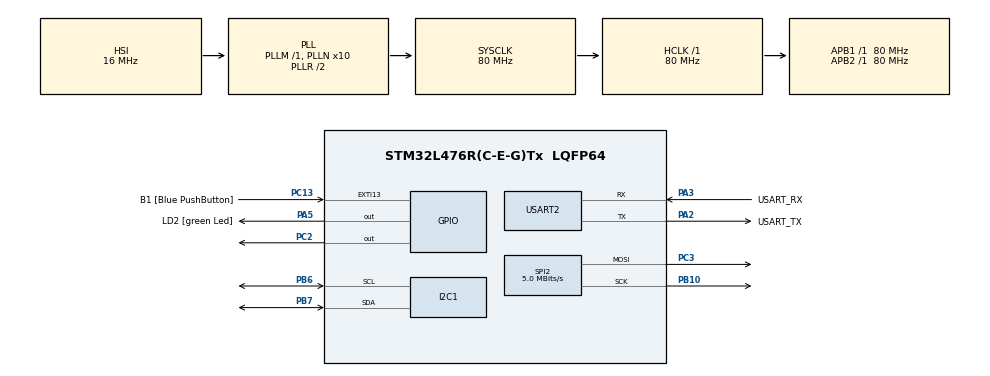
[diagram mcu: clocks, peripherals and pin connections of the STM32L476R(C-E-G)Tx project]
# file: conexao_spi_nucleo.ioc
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I2C1.Timing=0x10D19CE4
Mcu.Family=STM32L4
Mcu.Name=STM32L476R(C-E-G)Tx
Mcu.Package=LQFP64
NVIC.EXTI15_10_IRQn=true\:0\:0\:false\:false\:true\:true\:true\:true
NVIC.I2C1_ER_IRQn=true\:0\:0\:false\:false\:true\:true\:true\:true
NVIC.I2C1_EV_IRQn=true\:0\:0\:false\:false\:true\:true\:true\:true
NVIC.PriorityGroup=NVIC_PRIORITYGROUP_4
NVIC.SPI2_IRQn=true\:0\:0\:false\:false\:true\:true\:true\:true
NVIC.USART2_IRQn=true\:0\:0\:false\:false\:true\:true\:true\:true
PA13\ (JTMS-SWDIO).GPIO_Label=TMS
PA13\ (JTMS-SWDIO).Mode=Serial_Wire
PA13\ (JTMS-SWDIO).Signal=SYS_JTMS-SWDIO
PA14\ (JTCK-SWCLK).GPIO_Label=TCK
PA14\ (JTCK-SWCLK).Mode=Serial_Wire
PA14\ (JTCK-SWCLK).Signal=SYS_JTCK-SWCLK
PA2.GPIO_Label=USART_TX
PA2.GPIO_Mode=GPIO_MODE_AF_PP
PA2.GPIO_PuPd=GPIO_PULLUP
PA2.GPIO_Speed=GPIO_SPEED_FREQ_VERY_HIGH
PA2.Mode=Asynchronous
PA2.Signal=USART2_TX
PA3.GPIO_Label=USART_RX
PA3.GPIO_Mode=GPIO_MODE_AF_PP
PA3.GPIO_PuPd=GPIO_PULLUP
PA3.GPIO_Speed=GPIO_SPEED_FREQ_VERY_HIGH
PA3.Mode=Asynchronous
PA3.Signal=USART2_RX
PA5.GPIO_Label=LD2 [green Led]
PA5.GPIO_ModeDefaultOutputPP=GPIO_MODE_OUTPUT_PP
PA5.GPIO_PuPd=GPIO_NOPULL
PA5.GPIO_Speed=GPIO_SPEED_FREQ_LOW
PA5.Signal=GPIO_Output
PB10.Mode=TX_Only_Simplex_Unidirect_Master
PB10.Signal=SPI2_SCK
PB3\ (JTDO-TRACESWO).GPIO_Label=SWO
PB3\ (JTDO-TRACESWO).Signal=SYS_JTDO-SWO
PB6.GPIO_Pu=GPIO_PULLUP
PB6.Mode=I2C
PB6.Signal=I2C1_SCL
PB7.GPIO_Pu=GPIO_PULLUP
PB7.Mode=I2C
PB7.Signal=I2C1_SDA
PC13.GPIO_Label=B1 [Blue PushButton]
PC13.GPIO_ModeDefaultEXTI=GPIO_MODE_IT_FALLING
PC13.GPIO_PuPd=GPIO_NOPULL
PC13.Signal=GPXTI13
PC14-OSC32_IN\ (PC14).Mode=LSE-External-Oscillator
PC14-OSC32_IN\ (PC14).Signal=RCC_OSC32_IN
PC15-OSC32_OUT\ (PC15).Mode=LSE-External-Oscillator
PC15-OSC32_OUT\ (PC15).Signal=RCC_OSC32_OUT
PC2.Signal=GPIO_Output
PC3.Mode=TX_Only_Simplex_Unidirect_Master
PC3.Signal=SPI2_MOSI
PH0-OSC_IN\ (PH0).Signal=RCC_OSC_IN
PH1-OSC_OUT\ (PH1).Signal=RCC_OSC_OUT
ProjectManager.HeapSize=0x200
ProjectManager.StackSize=0x400
ProjectManager.TargetToolchain=STM32CubeIDE
RCC.ADCFreq_Value=64000000
RCC.AHBFreq_Value=80000000
RCC.APB1Freq_Value=80000000
RCC.APB1TimFreq_Value=80000000
RCC.APB2Freq_Value=80000000
RCC.APB2TimFreq_Value=80000000
RCC.CortexFreq_Value=80000000
RCC.HCLKFreq_Value=80000000
RCC.HSE_VALUE=8000000
RCC.HSI_VALUE=16000000
RCC.MSI_VALUE=4000000
RCC.PLLN=10
RCC.PLLSourceVirtual=RCC_PLLSOURCE_HSI
RCC.PREFETCH_ENABLE=1
RCC.SYSCLKFreq_VALUE=80000000
RCC.SYSCLKSource=RCC_SYSCLKSOURCE_PLLCLK
RCC.USBFreq_Value=64000000
RCC.VCOOutputFreq_Value=160000000
SPI2.BaudRatePrescaler=SPI_BAUDRATEPRESCALER_16
SPI2.CalculateBaudRate=5.0 MBits/s
SPI2.DataSize=SPI_DATASIZE_8BIT
SPI2.Direction=SPI_DIRECTION_2LINES
SPI2.Mode=SPI_MODE_MASTER
SPI2.VirtualType=VM_MASTER
USART2.VirtualMode-Asynchronous=VM_ASYNC
board=NUCLEO-L476RG

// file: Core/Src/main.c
/* USER CODE BEGIN Header */
/**
  ******************************************************************************
  * @file           : main.c
  * @brief          : Main program body
  ******************************************************************************
  * @attention
  *
  * Copyright (c) 2026 STMicroelectronics.
  * All rights reserved.
  *
  * This software is licensed under terms that can be found in the LICENSE file
  * in the root directory of this software component.
  * If no LICENSE file comes with this software, it is provided AS-IS.
  *
  ******************************************************************************
  */
/* USER CODE END Header */
#include "main.h"

/* USER CODE BEGIN Includes */
#include <string.h>
#include <stdio.h>
#include <stdlib.h>
/* USER CODE END Includes */

/* USER CODE BEGIN PD */
#define PCF8591_ADDRESS 0x48 << 1
#define CS_LOW()  HAL_GPIO_WritePin(GPIOC, GPIO_PIN_2, GPIO_PIN_RESET)
#define CS_HIGH() HAL_GPIO_WritePin(GPIOC, GPIO_PIN_2, GPIO_PIN_SET)
/* USER CODE END PD */

I2C_HandleTypeDef hi2c1;

SPI_HandleTypeDef hspi2;

UART_HandleTypeDef huart2;

/* USER CODE BEGIN PV */

// I²C
uint8_t rx_i2c_buffer[2];
uint8_t dac_tx_buffer[2];

uint8_t pcf_control_byte;

volatile uint8_t uart_received = 0;
volatile uint8_t i2c_done = 0;
volatile uint8_t i2c_busy = 0;

typedef enum {
	READ_AIN0,
	READ_AIN1,
	READ_AIN3,
	SET_DAC,
	TEMP,
	VOLT,
	LDR,
	Null
} Command_t;
Command_t comando = Null;

uint8_t ain0;
uint8_t ain1;
uint8_t ain3;
uint8_t dac_value;
uint8_t sensor_value;

uint8_t rx_char;
volatile uint8_t uart_index = 0;
char rx_uart_buffer[64];

char pc_msg[100];

// SPI
volatile uint8_t spi_busy = 0;
uint8_t spi_tx_buffer[2];

volatile uint32_t tick_display = 0;
volatile uint8_t display_toggle = 0;

typedef enum {
    DISPLAY_NONE,
    DISPLAY_TEMP_POS,
    DISPLAY_TEMP_NEG,
    DISPLAY_VOLT_POS,
    DISPLAY_VOLT_NEG,
    DISPLAY_LDR_POS,
    DISPLAY_LDR_NEG
} DisplayMode_t;

DisplayMode_t displayMode = DISPLAY_NONE;

const uint8_t CHAR_T[8] = {
    0b11111110,
    0b00010000,
    0b00010000,
    0b00010000,
    0b00010000,
    0b00010000,
    0b00010000,
    0b00000000
};

const uint8_t CHAR_V[8] = {
    0b10000010,
    0b10000010,
    0b10000010,
    0b01000100,
    0b01000100,
    0b00101000,
    0b00010000,
    0b00000000
};

const uint8_t CHAR_L[8] = {
    0b10000000,
    0b10000000,
    0b10000000,
    0b10000000,
    0b10000000,
    0b10000000,
    0b11111110,
    0b00000000
};

const uint8_t CHAR_PLUS[8] = {
    0b00000000,
    0b00010000,
    0b00010000,
    0b11111110,
    0b00010000,
    0b00010000,
    0b00000000,
    0b00000000
};

const uint8_t CHAR_MINUS[8] = {
    0b00000000,
    0b00000000,
    0b00000000,
    0b11111110,
    0b00000000,
    0b00000000,
    0b00000000,
    0b00000000
};

uint8_t matriz[8];
/* USER CODE END PV */

void SystemClock_Config(void);
static void MX_GPIO_Init(void);
static void MX_I2C1_Init(void);
static void MX_USART2_UART_Init(void);
static void MX_SPI2_Init(void);
/* USER CODE BEGIN PFP */
void PCF8591_StartRead(uint8_t channel);
void MAX7219_DisplayChar(const uint8_t *bitmap);
void Display_Update(void);
/* USER CODE END PFP */

/* USER CODE BEGIN 0 */
void PCF8591_SetDAC(uint8_t value) {
    if(i2c_busy) {
        return;
    }

    i2c_busy = 1;

    dac_tx_buffer[0] = 0x40;
    dac_tx_buffer[1] = value;

    HAL_I2C_Master_Transmit_IT(&hi2c1, PCF8591_ADDRESS, dac_tx_buffer, 2);
}

void MAX7219_Send(uint8_t address, uint8_t data) {
    if(spi_busy) {
    	return;
    }

    spi_busy = 1;
    spi_tx_buffer[0] = address;
    spi_tx_buffer[1] = data;
    CS_LOW();
    HAL_SPI_Transmit_IT(&hspi2, spi_tx_buffer, 2);
}

void MAX7219_Init(void) {
    MAX7219_Send(0x09, 0x00);
    MAX7219_Send(0x0A, 0x03);
    MAX7219_Send(0x0B, 0x07);
    MAX7219_Send(0x0C, 0x01);
    MAX7219_Send(0x0F, 0x00);
}

void MAX7219_Clear(void) {
    for(uint8_t i = 1; i <= 8; i++) {
        MAX7219_Send(i, 0x00);
    }
}

void MAX7219_DisplayChar(const uint8_t *bitmap) {
    for(uint8_t i = 0; i < 8; i++) {
        while(spi_busy);
        matriz[i] = bitmap[i];
        MAX7219_Send(i + 1, matriz[i]);
    }
}

void Display_Update(void) {
    if(displayMode == DISPLAY_NONE) {
    	return;
    }

    uint32_t now = HAL_GetTick();
    if(now - tick_display >= 500) {
        tick_display = now;
        display_toggle = !display_toggle;

        if(display_toggle) {
            switch(displayMode) {
                case DISPLAY_TEMP_POS:
                case DISPLAY_TEMP_NEG:
                    MAX7219_DisplayChar(CHAR_T);
                    break;
                case DISPLAY_VOLT_POS:
                case DISPLAY_VOLT_NEG:
                    MAX7219_DisplayChar(CHAR_V);
                    break;
                case DISPLAY_LDR_POS:
                case DISPLAY_LDR_NEG:
                    MAX7219_DisplayChar(CHAR_L);
                    break;
                default: break;
            }
        } else {
            switch(displayMode) {
                case DISPLAY_TEMP_POS:
                case DISPLAY_VOLT_POS:
                case DISPLAY_LDR_POS:
                    MAX7219_DisplayChar(CHAR_PLUS);
                    break;
                case DISPLAY_TEMP_NEG:
                case DISPLAY_VOLT_NEG:
                case DISPLAY_LDR_NEG:
                    MAX7219_DisplayChar(CHAR_MINUS);
                    break;
                default: break;
            }
        }
    }
}
/* USER CODE END 0 */

int main(void)
{

  /* MCU Configuration--------------------------------------------------------*/

  /* Reset of all peripherals, Initializes the Flash interface and the Systick. */
  HAL_Init();

  /* Configure the system clock */
  SystemClock_Config();

  /* Initialize all configured peripherals */
  MX_GPIO_Init();
  MX_I2C1_Init();
  MX_USART2_UART_Init();
  MX_SPI2_Init();
  /* USER CODE BEGIN 2 */
  MAX7219_Init();
  MAX7219_Clear();
  HAL_UART_Receive_IT(&huart2, &rx_char, 1);
  /* USER CODE END 2 */

  /* Infinite loop */
  while (1)
  {

    /* USER CODE BEGIN 3 */
	  if (uart_received)
	  	      {
	  	          uart_received = 0;
	  	          uint8_t comando_valido = 0;
	  	          if (strcmp(rx_uart_buffer, "Read_AIN0") == 0) {
	  	              comando = READ_AIN0;
	  	              comando_valido = 1;
	  	              PCF8591_StartRead(0);
	  	          }
	  	          if (strcmp(rx_uart_buffer, "Read_AIN1") == 0) {
	  	              comando = READ_AIN1;
	  	              comando_valido = 1;
	  	              PCF8591_StartRead(1);
	  	          }
	  	          if (strcmp(rx_uart_buffer, "Read_AIN3") == 0) {
	  	              comando = READ_AIN3;
	  	              comando_valido = 1;
	  	              PCF8591_StartRead(3);
	  	          }
	  	          if (strncmp(rx_uart_buffer, "Set_DAC_", 8) == 0) {
	  	              uint8_t valor = atoi(&rx_uart_buffer[8]);
	  	              if (valor > 255) {
	  	            	  valor = 255;
	  	              }
	  	              comando = SET_DAC;
	  	              comando_valido = 1;
	  	              PCF8591_SetDAC(valor);

	  	              sprintf(pc_msg, "DAC = %d\r\n", valor);

	  	              HAL_UART_Transmit_IT(&huart2, (uint8_t*)pc_msg, strlen(pc_msg));
	  	          }
	  	          if(strcmp(rx_uart_buffer, "Temp") == 0) {
	  	        	  comando = TEMP;
	  	        	  comando_valido = 1;
	  	        	  PCF8591_StartRead(1); // AIN0 = temperatura
	  	          }
	  	          if(strcmp(rx_uart_buffer, "Volt") == 0) {
	  	        	  comando = VOLT;
	  	        	  comando_valido = 1;
	  	        	  PCF8591_StartRead(3); // AIN1 = potenciômetro
	  	          }
	  	          if(strcmp(rx_uart_buffer, "LDR") == 0) {
	  	        	  comando = LDR;
	  	        	  comando_valido = 1;
	  	        	  PCF8591_StartRead(0); // AIN3 = LDR
	  	          }
	  	          if (!comando_valido){
	  		          sprintf(pc_msg, "Comando invalido\r\n");

	  		          HAL_UART_Transmit_IT(&huart2, (uint8_t*)pc_msg, strlen(pc_msg));
	  	          }

	  	      }

	  	      if (i2c_done) {
	  	          i2c_done = 0;

	  	          switch(comando) {
	  	              case READ_AIN0:

	  	                  ain0 = rx_i2c_buffer[1];
	  	                  sprintf(pc_msg, "AIN0 = %d\r\n", ain0);
	  	                  break;

	  	              case READ_AIN1:

	  	                  ain1 = rx_i2c_buffer[1];
	  	                  sprintf(pc_msg, "AIN1 = %d\r\n", ain1);
	  	                  break;

	  	              case READ_AIN3:

	  	                  ain3 = rx_i2c_buffer[1];
	  	                  sprintf(pc_msg, "AIN3 = %d\r\n", ain3);
	  	                  break;

	  	              case TEMP:
	  	            	  sensor_value = rx_i2c_buffer[1];
	  	            	  sprintf(pc_msg, "Temp = %d\r\n", sensor_value);
	  	            	  if (sensor_value < 128) {
	  	            		  displayMode = DISPLAY_TEMP_NEG;
		  	            	  tick_display = 0;
		  	            	  display_toggle = 0;
	  	            		  break;
	  	            	  }
  	            		  displayMode = DISPLAY_TEMP_POS;
	  	            	  tick_display = 0;
	  	            	  display_toggle = 0;
	  	            	  break;

	  	              case VOLT:
	  	            	  sensor_value = rx_i2c_buffer[1];
	  	            	  sprintf(pc_msg, "Volt = %d\r\n", sensor_value);
	  	            	  if (sensor_value < 128) {
	  	            		  displayMode = DISPLAY_VOLT_NEG;
		  	            	  tick_display = 0;
		  	            	  display_toggle = 0;
	  	            		  break;
	  	            	  }
	  	            	  displayMode = DISPLAY_VOLT_POS;
	  	            	  tick_display = 0;
	  	            	  display_toggle = 0;
	  	            	  break;

	  	              case LDR:
	  	            	  sensor_value = rx_i2c_buffer[1];
	  	            	  sprintf(pc_msg, "LDR = %d\r\n", sensor_value);
	  	            	  if (sensor_value < 128) {
	  	            		  displayMode = DISPLAY_LDR_NEG;
		  	            	  tick_display = 0;
		  	            	  display_toggle = 0;
	  	            		  break;
	  	            	  }
	  	            	  displayMode = DISPLAY_LDR_POS;
	  	            	  tick_display = 0;
	  	            	  display_toggle = 0;
	  	            	  break;

	  	              default:
	  	                  break;
	  	          }

	  	          HAL_UART_Transmit_IT(&huart2, (uint8_t*)pc_msg, strlen(pc_msg));
	  	      }
  	          Display_Update();

  }
  /* USER CODE END 3 */
}

void SystemClock_Config(void)
{
  RCC_OscInitTypeDef RCC_OscInitStruct = {0};
  RCC_ClkInitTypeDef RCC_ClkInitStruct = {0};

  /** Configure the main internal regulator output voltage
  */
  if (HAL_PWREx_ControlVoltageScaling(PWR_REGULATOR_VOLTAGE_SCALE1) != HAL_OK)
  {
    Error_Handler();
  }

  /** Initializes the RCC Oscillators according to the specified parameters
  * in the RCC_OscInitTypeDef structure.
  */
  RCC_OscInitStruct.OscillatorType = RCC_OSCILLATORTYPE_HSI;
  RCC_OscInitStruct.HSIState = RCC_HSI_ON;
  RCC_OscInitStruct.HSICalibrationValue = RCC_HSICALIBRATION_DEFAULT;
  RCC_OscInitStruct.PLL.PLLState = RCC_PLL_ON;
  RCC_OscInitStruct.PLL.PLLSource = RCC_PLLSOURCE_HSI;
  RCC_OscInitStruct.PLL.PLLM = 1;
  RCC_OscInitStruct.PLL.PLLN = 10;
  RCC_OscInitStruct.PLL.PLLP = RCC_PLLP_DIV7;
  RCC_OscInitStruct.PLL.PLLQ = RCC_PLLQ_DIV2;
  RCC_OscInitStruct.PLL.PLLR = RCC_PLLR_DIV2;
  if (HAL_RCC_OscConfig(&RCC_OscInitStruct) != HAL_OK)
  {
    Error_Handler();
  }

  /** Initializes the CPU, AHB and APB buses clocks
  */
  RCC_ClkInitStruct.ClockType = RCC_CLOCKTYPE_HCLK|RCC_CLOCKTYPE_SYSCLK
                              |RCC_CLOCKTYPE_PCLK1|RCC_CLOCKTYPE_PCLK2;
  RCC_ClkInitStruct.SYSCLKSource = RCC_SYSCLKSOURCE_PLLCLK;
  RCC_ClkInitStruct.AHBCLKDivider = RCC_SYSCLK_DIV1;
  RCC_ClkInitStruct.APB1CLKDivider = RCC_HCLK_DIV1;
  RCC_ClkInitStruct.APB2CLKDivider = RCC_HCLK_DIV1;

  if (HAL_RCC_ClockConfig(&RCC_ClkInitStruct, FLASH_LATENCY_4) != HAL_OK)
  {
    Error_Handler();
  }
}

static void MX_I2C1_Init(void)
{

  hi2c1.Instance = I2C1;
  hi2c1.Init.Timing = 0x10D19CE4;
  hi2c1.Init.OwnAddress1 = 0;
  hi2c1.Init.AddressingMode = I2C_ADDRESSINGMODE_7BIT;
  hi2c1.Init.DualAddressMode = I2C_DUALADDRESS_DISABLE;
  hi2c1.Init.OwnAddress2 = 0;
  hi2c1.Init.OwnAddress2Masks = I2C_OA2_NOMASK;
  hi2c1.Init.GeneralCallMode = I2C_GENERALCALL_DISABLE;
  hi2c1.Init.NoStretchMode = I2C_NOSTRETCH_DISABLE;
  if (HAL_I2C_Init(&hi2c1) != HAL_OK)
  {
    Error_Handler();
  }

  /** Configure Analogue filter
  */
  if (HAL_I2CEx_ConfigAnalogFilter(&hi2c1, I2C_ANALOGFILTER_ENABLE) != HAL_OK)
  {
    Error_Handler();
  }

  /** Configure Digital filter
  */
  if (HAL_I2CEx_ConfigDigitalFilter(&hi2c1, 0) != HAL_OK)
  {
    Error_Handler();
  }

}

static void MX_SPI2_Init(void)
{

  /* SPI2 parameter configuration*/
  hspi2.Instance = SPI2;
  hspi2.Init.Mode = SPI_MODE_MASTER;
  hspi2.Init.Direction = SPI_DIRECTION_2LINES;
  hspi2.Init.DataSize = SPI_DATASIZE_8BIT;
  hspi2.Init.CLKPolarity = SPI_POLARITY_LOW;
  hspi2.Init.CLKPhase = SPI_PHASE_1EDGE;
  hspi2.Init.NSS = SPI_NSS_SOFT;
  hspi2.Init.BaudRatePrescaler = SPI_BAUDRATEPRESCALER_16;
  hspi2.Init.FirstBit = SPI_FIRSTBIT_MSB;
  hspi2.Init.TIMode = SPI_TIMODE_DISABLE;
  hspi2.Init.CRCCalculation = SPI_CRCCALCULATION_DISABLE;
  hspi2.Init.CRCPolynomial = 7;
  hspi2.Init.CRCLength = SPI_CRC_LENGTH_DATASIZE;
  hspi2.Init.NSSPMode = SPI_NSS_PULSE_ENABLE;
  if (HAL_SPI_Init(&hspi2) != HAL_OK)
  {
    Error_Handler();
  }

}

static void MX_USART2_UART_Init(void)
{

  huart2.Instance = USART2;
  huart2.Init.BaudRate = 115200;
  huart2.Init.WordLength = UART_WORDLENGTH_8B;
  huart2.Init.StopBits = UART_STOPBITS_1;
  huart2.Init.Parity = UART_PARITY_NONE;
  huart2.Init.Mode = UART_MODE_TX_RX;
  huart2.Init.HwFlowCtl = UART_HWCONTROL_NONE;
  huart2.Init.OverSampling = UART_OVERSAMPLING_16;
  huart2.Init.OneBitSampling = UART_ONE_BIT_SAMPLE_DISABLE;
  huart2.AdvancedInit.AdvFeatureInit = UART_ADVFEATURE_NO_INIT;
  if (HAL_UART_Init(&huart2) != HAL_OK)
  {
    Error_Handler();
  }

}

static void MX_GPIO_Init(void)
{
  GPIO_InitTypeDef GPIO_InitStruct = {0};

  /* GPIO Ports Clock Enable */
  __HAL_RCC_GPIOC_CLK_ENABLE();
  __HAL_RCC_GPIOH_CLK_ENABLE();
  __HAL_RCC_GPIOA_CLK_ENABLE();
  __HAL_RCC_GPIOB_CLK_ENABLE();

  /*Configure GPIO pin Output Level */
  HAL_GPIO_WritePin(GPIOC, GPIO_PIN_2, GPIO_PIN_RESET);

  /*Configure GPIO pin Output Level */
  HAL_GPIO_WritePin(LD2_GPIO_Port, LD2_Pin, GPIO_PIN_RESET);

  /*Configure GPIO pin : B1_Pin */
  GPIO_InitStruct.Pin = B1_Pin;
  GPIO_InitStruct.Mode = GPIO_MODE_IT_FALLING;
  GPIO_InitStruct.Pull = GPIO_NOPULL;
  HAL_GPIO_Init(B1_GPIO_Port, &GPIO_InitStruct);

  /*Configure GPIO pin : PC2 */
  GPIO_InitStruct.Pin = GPIO_PIN_2;
  GPIO_InitStruct.Mode = GPIO_MODE_OUTPUT_PP;
  GPIO_InitStruct.Pull = GPIO_NOPULL;
  GPIO_InitStruct.Speed = GPIO_SPEED_FREQ_LOW;
  HAL_GPIO_Init(GPIOC, &GPIO_InitStruct);

  /*Configure GPIO pin : LD2_Pin */
  GPIO_InitStruct.Pin = LD2_Pin;
  GPIO_InitStruct.Mode = GPIO_MODE_OUTPUT_PP;
  GPIO_InitStruct.Pull = GPIO_NOPULL;
  GPIO_InitStruct.Speed = GPIO_SPEED_FREQ_LOW;
  HAL_GPIO_Init(LD2_GPIO_Port, &GPIO_InitStruct);

  /* EXTI interrupt init*/
  HAL_NVIC_SetPriority(EXTI15_10_IRQn, 0, 0);
  HAL_NVIC_EnableIRQ(EXTI15_10_IRQn);

}

/* USER CODE BEGIN 4 */
void PCF8591_StartRead(uint8_t channel) {
	if (i2c_busy) {
		return;
	}

	i2c_busy = 1;

	pcf_control_byte = 0x40 | channel;

	HAL_I2C_Master_Transmit_IT(&hi2c1, PCF8591_ADDRESS, &pcf_control_byte, 1);
}

void HAL_I2C_MasterRxCpltCallback(I2C_HandleTypeDef *hi2c) {
	if (hi2c->Instance == I2C1) {
	    i2c_done = 1;
	    i2c_busy = 0;
	}
}

void HAL_I2C_MasterTxCpltCallback(I2C_HandleTypeDef *hi2c) {
	if (hi2c->Instance == I2C1) {
		        if (comando == READ_AIN0 || comando == READ_AIN1 || comando == READ_AIN3
		        	|| comando == TEMP || comando == VOLT || comando == LDR) {
		            HAL_I2C_Master_Receive_IT(&hi2c1, PCF8591_ADDRESS, rx_i2c_buffer, 2);
		        }
		        else {
		            i2c_busy = 0;
		        }
		    }
}

void HAL_UART_RxCpltCallback(UART_HandleTypeDef *huart) {
    if (huart->Instance == USART2) {
        if (rx_char == '\r' || rx_char == '\n') {
            rx_uart_buffer[uart_index] = '\0';
            uart_index = 0;
            uart_received = 1;
        }
        else {
            rx_uart_buffer[uart_index++] = rx_char;

            if (uart_index >= sizeof(rx_uart_buffer) - 1) {
                uart_index = 0;
            }
        }

        HAL_UART_Receive_IT(&huart2, &rx_char, 1);
    }
}

void HAL_SPI_TxCpltCallback(SPI_HandleTypeDef *hspi) {
    if(hspi->Instance == SPI2) {
        CS_HIGH();

        spi_busy = 0;
    }
}
/* USER CODE END 4 */

void Error_Handler(void)
{
  __disable_irq();
  while (1)
  {
  }
}
